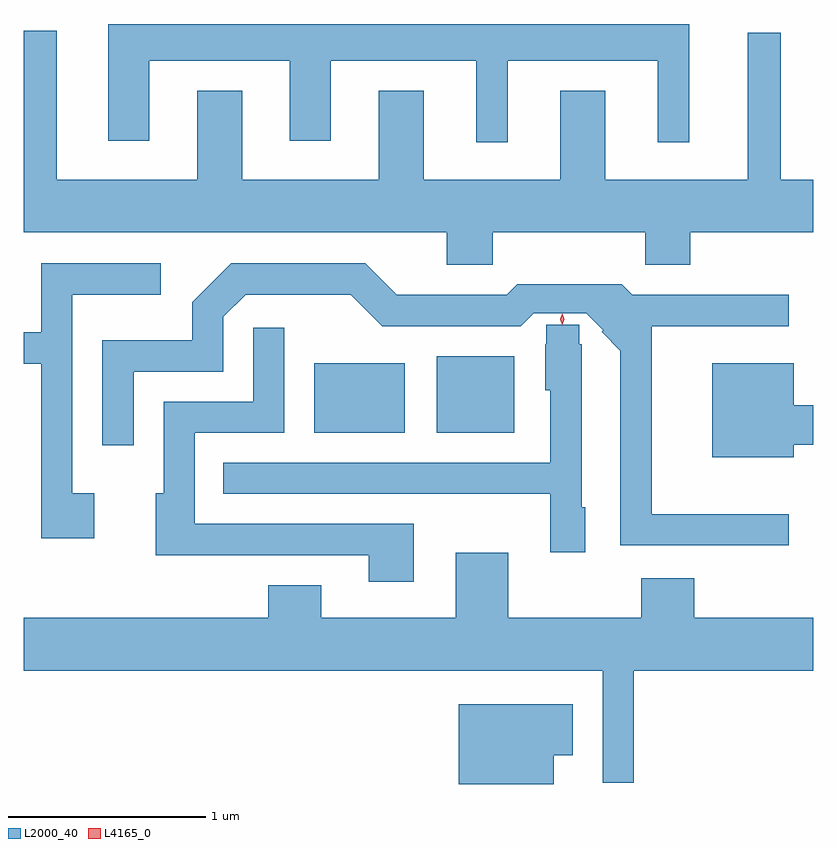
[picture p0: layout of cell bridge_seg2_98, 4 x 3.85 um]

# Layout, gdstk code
import gdstk
lib = gdstk.Library(unit=1e-6, precision=1e-09)
def R(c, l, rs):  # rectangles x0, y0, x1, y1
    for r in rs: c.add(gdstk.rectangle(r[:2], r[2:], *l))
def P(c, l, *ps):  # polygons
    for p in ps: c.add(gdstk.Polygon(p, *l))
L2000_40 = (2000, 40)
L4165_0 = (4165, 0)

bridge_seg2_98 = lib.new_cell('bridge_seg2_98')
R(bridge_seg2_98, L2000_40, [(1239.826,998.461,1240.284,998.814), (1240.446,998.461,1240.839,998.849)])
P(bridge_seg2_98, L2000_40, [(1240.804,1000.346),(1241.566,1000.346),(1241.566,999.933),(1241.724,999.933),(1241.724,1000.532),(1238.781,1000.532),(1238.781,999.941),(1238.989,999.941),(1238.989,1000.346),(1239.701,1000.346),(1239.701,999.941),(1239.909,999.941),(1239.909,1000.346),(1240.646,1000.346),(1240.646,999.933),(1240.804,999.933)],
  [(1240.729,999.476),(1241.501,999.476),(1241.501,999.311),(1241.729,999.311),(1241.729,999.476),(1242.353,999.476),(1242.353,999.744),(1242.189,999.744),(1242.189,1000.488),(1242.021,1000.488),(1242.021,999.744),(1241.299,999.744),(1241.299,1000.194),(1241.071,1000.194),(1241.071,999.744),(1240.379,999.744),(1240.379,1000.194),(1240.151,1000.194),(1240.151,999.744),(1239.459,999.744),(1239.459,1000.194),(1239.231,1000.194),(1239.231,999.744),(1238.519,999.744),(1238.519,1000.499),(1238.353,1000.499),(1238.353,999.476),(1240.496,999.476),(1240.496,999.311),(1240.729,999.311)],
  [(1242.228,998.049),(1241.534,998.049),(1241.534,999.001),(1242.228,999.001),(1242.228,999.159),(1241.437,999.159),(1241.382,999.214),(1240.854,999.214),(1240.799,999.159),(1240.242,999.159),(1240.082,999.319),(1239.404,999.319),(1239.206,999.122),(1239.206,998.929),(1238.751,998.929),(1238.751,998.398),(1238.909,998.398),(1238.909,998.771),(1239.364,998.771),(1239.364,999.049),(1239.477,999.161),(1240.009,999.161),(1240.169,999.001),(1240.872,999.001),(1240.937,999.066),(1241.202,999.066),(1241.288,998.98),(1241.281,998.972),(1241.376,998.877),(1241.376,997.891),(1242.228,997.891)],
  [(1238.709,998.154),(1238.599,998.154),(1238.599,999.161),(1239.048,999.161),(1239.048,999.319),(1238.441,999.319),(1238.441,998.969),(1238.353,998.969),(1238.353,998.811),(1238.441,998.811),(1238.441,997.926),(1238.709,997.926)],
  [(1241.199,998.084),(1241.179,998.084),(1241.179,998.908),(1241.168,998.908),(1241.168,999.008),(1241,999.008),(1241,998.908),(1240.996,998.908),(1240.996,998.676),(1241.021,998.676),(1241.021,998.309),(1239.363,998.309),(1239.363,998.151),(1241.021,998.151),(1241.021,997.856),(1241.199,997.856)],
  [(1240.329,997.999),(1239.219,997.999),(1239.219,998.461),(1239.674,998.461),(1239.674,998.993),(1239.516,998.993),(1239.516,998.619),(1239.061,998.619),(1239.061,998.154),(1239.021,998.154),(1239.021,997.841),(1240.101,997.841),(1240.101,997.706),(1240.329,997.706)],
  [(1242.254,998.401),(1242.353,998.401),(1242.353,998.599),(1242.254,998.599),(1242.254,998.814),(1241.841,998.814),(1241.841,998.336),(1242.254,998.336)],
  [(1241.444,997.256),(1242.353,997.256),(1242.353,997.524),(1241.749,997.524),(1241.749,997.724),(1241.481,997.724),(1241.481,997.524),(1240.809,997.524),(1240.809,997.854),(1240.541,997.854),(1240.541,997.524),(1239.859,997.524),(1239.859,997.689),(1239.591,997.689),(1239.591,997.524),(1238.353,997.524),(1238.353,997.256),(1241.286,997.256),(1241.286,996.688),(1241.444,996.688)],
  [(1241.039,996.826),(1241.134,996.826),(1241.134,997.084),(1240.556,997.084),(1240.556,996.681),(1241.039,996.681)])
P(bridge_seg2_98, L4165_0, [(1241.081,999.008),(1241.072,999.037),(1241.081,999.065),(1241.081,999.066),(1241.082,999.065),(1241.092,999.037),(1241.082,999.008),(1241.082,999.008)],
  [(1241.081,999.011),(1241.072,999.037),(1241.081,999.063),(1241.081,999.063),(1241.082,999.063),(1241.092,999.037),(1241.082,999.011),(1241.082,999.011)])

lib.write_gds('bridge_seg2_98.gds')
